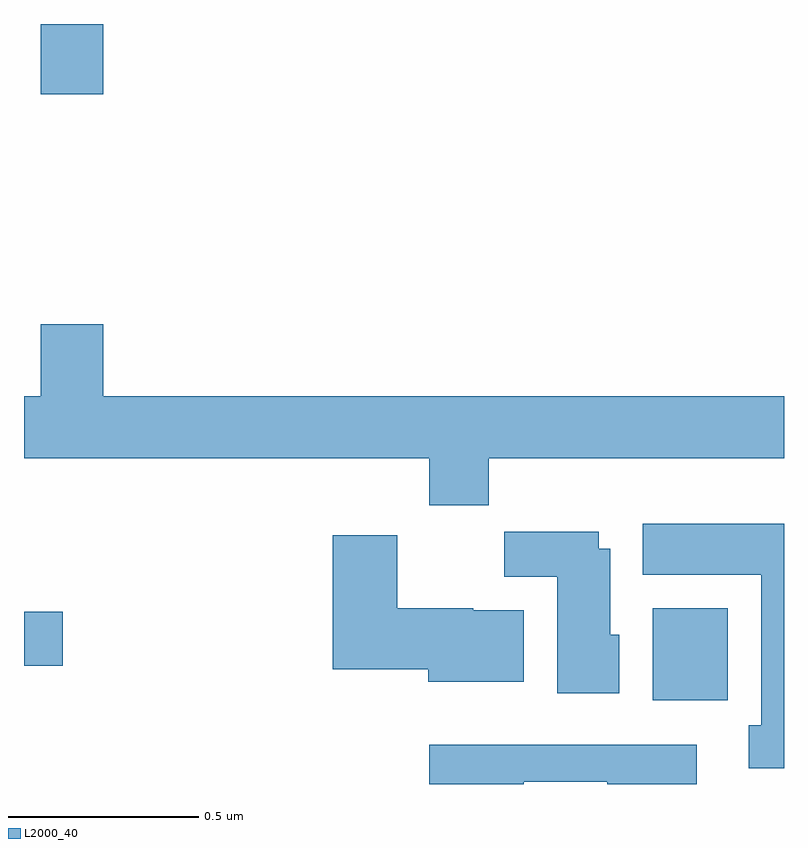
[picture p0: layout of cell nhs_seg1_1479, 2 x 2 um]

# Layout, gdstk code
import gdstk
lib = gdstk.Library(unit=1e-6, precision=1e-09)
def R(c, l, rs):  # rectangles x0, y0, x1, y1
    for r in rs: c.add(gdstk.rectangle(r[:2], r[2:], *l))
def P(c, l, *ps):  # polygons
    for p in ps: c.add(gdstk.Polygon(p, *l))
L2000_40 = (2000, 40)

nhs_seg1_1479 = lib.new_cell('nhs_seg1_1479')
R(nhs_seg1_1479, L2000_40, [(130.655,560.42,130.852,560.662), (129,560.51,129.102,560.652), (129.044,562.014,129.208,562.199)])
P(nhs_seg1_1479, L2000_40, [(130.223,561.056),(131,561.056),(131,561.22),(129.208,561.22),(129.208,561.409),(129.044,561.409),(129.044,561.22),(129,561.22),(129,561.056),(130.067,561.056),(130.067,560.932),(130.223,560.932)],
  [(131,560.884),(130.628,560.884),(130.628,560.75),(130.94,560.75),(130.94,560.354),(130.907,560.354),(130.907,560.241),(131,560.241)],
  [(130.567,560.592),(130.543,560.592),(130.543,560.818),(130.513,560.818),(130.513,560.863),(130.264,560.863),(130.264,560.744),(130.403,560.744),(130.403,560.438),(130.567,560.438)],
  [(130.315,560.656),(130.182,560.656),(130.182,560.662),(129.982,560.662),(129.982,560.854),(129.812,560.854),(129.812,560.501),(130.064,560.501),(130.064,560.468),(130.315,560.468)],
  [(130.315,560.205),(130.535,560.205),(130.535,560.199),(130.771,560.199),(130.771,560.302),(130.067,560.302),(130.067,560.199),(130.315,560.199)])

lib.write_gds('nhs_seg1_1479.gds')
